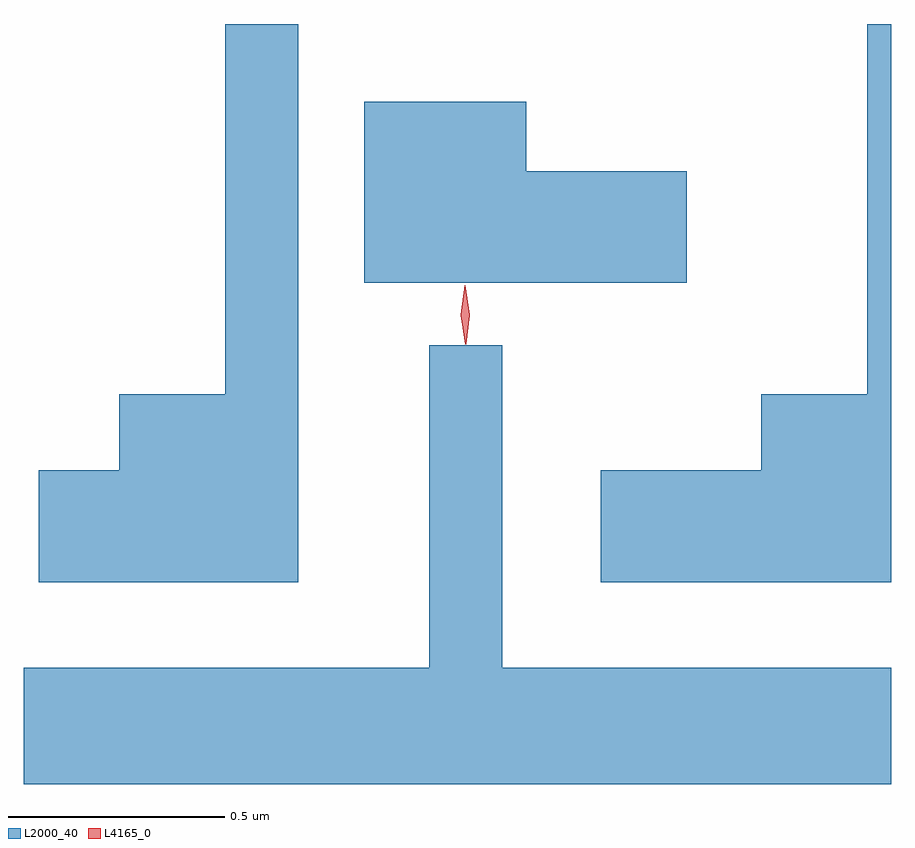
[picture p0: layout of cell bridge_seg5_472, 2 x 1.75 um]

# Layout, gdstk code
import gdstk
lib = gdstk.Library(unit=1e-6, precision=1e-09)
def P(c, l, *ps):  # polygons
    for p in ps: c.add(gdstk.Polygon(p, *l))
L2000_40 = (2000, 40)
L4165_0 = (4165, 0)

bridge_seg5_472 = lib.new_cell('bridge_seg5_472')
P(bridge_seg5_472, L2000_40, [(254.076,1520.708),(254.021,1520.708),(254.021,1519.854),(253.776,1519.854),(253.776,1519.679),(253.406,1519.679),(253.406,1519.421),(254.076,1519.421)],
  [(252.709,1520.708),(252.541,1520.708),(252.541,1519.854),(252.296,1519.854),(252.296,1519.679),(252.111,1519.679),(252.111,1519.421),(252.709,1519.421)],
  [(253.604,1520.369),(253.234,1520.369),(253.234,1520.529),(252.861,1520.529),(252.861,1520.111),(253.604,1520.111)],
  [(254.076,1519.224),(253.179,1519.224),(253.179,1519.968),(253.011,1519.968),(253.011,1519.224),(252.076,1519.224),(252.076,1518.956),(254.076,1518.956)])
P(bridge_seg5_472, L4165_0, [(253.094,1519.97),(253.084,1520.038),(253.093,1520.106),(253.094,1520.106),(253.094,1520.106),(253.104,1520.038),(253.096,1519.97),(253.095,1519.97)],
  [(253.094,1519.973),(253.094,1519.974),(253.084,1520.036),(253.093,1520.099),(253.094,1520.1),(253.094,1520.099),(253.104,1520.036),(253.095,1519.974)])

lib.write_gds('bridge_seg5_472.gds')
